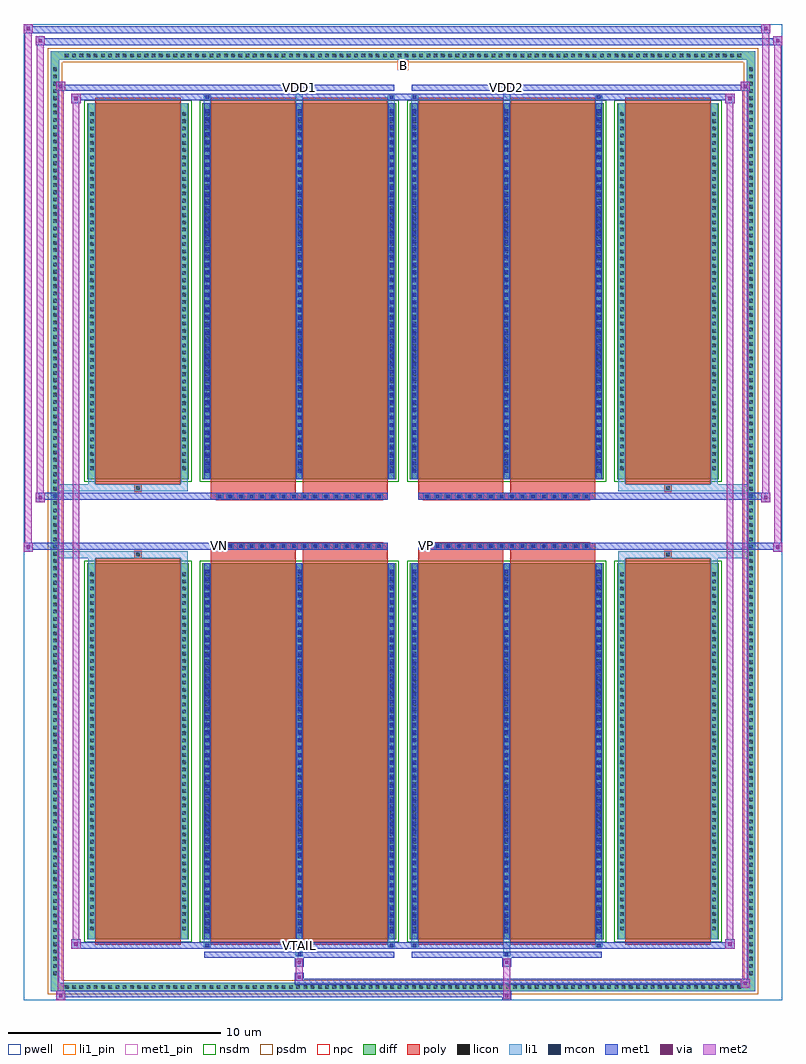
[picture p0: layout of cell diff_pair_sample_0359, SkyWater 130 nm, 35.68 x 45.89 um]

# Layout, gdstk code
import gdstk
lib = gdstk.Library(unit=1e-6, precision=5e-09)
def R(c, l, rs):  # rectangles x0, y0, x1, y1
    for r in rs: c.add(gdstk.rectangle(r[:2], r[2:], *l))
def A(c, l, x, y, w, h, nx, ny, dx, dy):  # array of equal rectangles
    R(c, l, [(x+i*dx, y+j*dy, x+i*dx+w, y+j*dy+h) for i in range(nx) for j in range(ny)])
def P(c, l, *ps):  # polygons
    for p in ps: c.add(gdstk.Polygon(p, *l))
pwell = (64, 44)
diff = (65, 20)
poly = (66, 20)
licon = (66, 44)
li1_pin = (67, 16)
li1 = (67, 20)
mcon = (67, 44)
met1_pin = (68, 16)
met1 = (68, 20)
via = (68, 44)
met2 = (69, 20)
nsdm = (93, 44)
psdm = (94, 20)
npc = (95, 20)

diff_pair_sample_0359 = lib.new_cell('diff_pair_sample_0359')
R(diff_pair_sample_0359, pwell, [(-17.84,-22.51,17.84,23.38), (-15.16,-20.7,-0.01,-0.8), (0.01,-20.7,15.16,-0.8), (-15.16,0.8,-0.01,20.7), (0.01,0.8,15.16,20.7)])
A(diff_pair_sample_0359, diff, -16.015, -22.11, 0.41, 0.41, 94, 2, 0.34, 43.81)
A(diff_pair_sample_0359, diff, -16.57, -21.455, 0.41, 0.41, 1, 126, 0, 0.34)
A(diff_pair_sample_0359, diff, 16.16, -21.455, 0.41, 0.41, 1, 126, 0, 0.34)
R(diff_pair_sample_0359, diff, [(-16.015,-22.11,16.015,-21.7), (-16.57,-21.455,-16.16,21.455), (16.16,-21.455,16.57,21.455), (-14.85,-19.655,-10.07,-1.985), (-9.43,-19.655,-0.32,-1.985), (0.32,-19.655,9.43,-1.985), (10.07,-19.655,14.85,-1.985), (-14.85,1.985,-10.07,19.655), (-9.43,1.985,-0.32,19.655), (0.32,1.985,9.43,19.655), (10.07,1.985,14.85,19.655), (-16.015,21.7,16.015,22.11)])
P(diff_pair_sample_0359, diff, [(16.57,22.11),(-16.57,22.11),(-16.57,-21.7),(-16.16,-21.7),(-16.16,21.7),(16.16,21.7),(16.16,-21.7),(-16.16,-21.7),(-16.57,-21.7),(-16.57,-22.11),(16.57,-22.11)])
A(diff_pair_sample_0359, poly, -8.79, -1.33, 0.33, 0.33, 16, 2, 0.5, 2.33)
A(diff_pair_sample_0359, poly, 0.96, -1.33, 0.33, 0.33, 16, 2, 0.5, 2.33)
R(diff_pair_sample_0359, poly, [(-14.46,-19.905,-10.46,-1.735), (-9.04,-19.905,-5.04,-1.735), (-4.71,-19.905,-0.71,-1.735), (0.71,-19.905,4.71,-1.735), (5.04,-19.905,9.04,-1.735), (10.46,-19.905,14.46,-1.735), (-12.625,-1.735,-12.295,-1.405), (-12.625,-1.735,-12.295,-1.405), (-9.04,-1.735,-5.04,-1.33), (-4.71,-1.735,-0.71,-1.33), (0.71,-1.735,4.71,-1.33), (5.04,-1.735,9.04,-1.33), (12.295,-1.735,12.625,-1.405), (12.295,-1.735,12.625,-1.405), (-9.04,-1.33,-0.71,-1), (0.71,-1.33,9.04,-1), (-9.04,1,-0.71,1.33), (0.71,1,9.04,1.33), (-9.04,1.33,-5.04,1.735), (-4.71,1.33,-0.71,1.735), (0.71,1.33,4.71,1.735), (5.04,1.33,9.04,1.735), (-12.625,1.405,-12.295,1.735), (-12.625,1.405,-12.295,1.735), (12.295,1.405,12.625,1.735), (12.295,1.405,12.625,1.735), (-14.46,1.735,-10.46,19.905), (-9.04,1.735,-5.04,19.905), (-4.71,1.735,-0.71,19.905), (0.71,1.735,4.71,19.905), (5.04,1.735,9.04,19.905), (10.46,1.735,14.46,19.905)])
A(diff_pair_sample_0359, licon, -15.895, -21.99, 0.17, 0.17, 94, 2, 0.34, 43.81)
A(diff_pair_sample_0359, licon, -16.45, -21.335, 0.17, 0.17, 1, 126, 0, 0.34)
A(diff_pair_sample_0359, licon, 16.28, -21.335, 0.17, 0.17, 1, 126, 0, 0.34)
A(diff_pair_sample_0359, licon, -14.71, -19.235, 0.17, 0.17, 1, 50, 0, 0.34)
A(diff_pair_sample_0359, licon, -10.38, -19.235, 0.17, 0.17, 1, 50, 0, 0.34)
A(diff_pair_sample_0359, licon, -9.29, -19.235, 0.17, 0.17, 3, 50, 4.33, 0.34)
A(diff_pair_sample_0359, licon, 0.46, -19.235, 0.17, 0.17, 3, 50, 4.33, 0.34)
A(diff_pair_sample_0359, licon, 10.21, -19.235, 0.17, 0.17, 1, 50, 0, 0.34)
A(diff_pair_sample_0359, licon, 14.54, -19.235, 0.17, 0.17, 1, 50, 0, 0.34)
A(diff_pair_sample_0359, licon, -8.71, -1.25, 0.17, 0.17, 16, 2, 0.5, 2.33)
A(diff_pair_sample_0359, licon, 1.04, -1.25, 0.17, 0.17, 16, 2, 0.5, 2.33)
A(diff_pair_sample_0359, licon, -14.71, 2.405, 0.17, 0.17, 1, 50, 0, 0.34)
A(diff_pair_sample_0359, licon, -10.38, 2.405, 0.17, 0.17, 1, 50, 0, 0.34)
A(diff_pair_sample_0359, licon, -9.29, 2.405, 0.17, 0.17, 3, 50, 4.33, 0.34)
A(diff_pair_sample_0359, licon, 0.46, 2.405, 0.17, 0.17, 3, 50, 4.33, 0.34)
A(diff_pair_sample_0359, licon, 10.21, 2.405, 0.17, 0.17, 1, 50, 0, 0.34)
A(diff_pair_sample_0359, licon, 14.54, 2.405, 0.17, 0.17, 1, 50, 0, 0.34)
R(diff_pair_sample_0359, licon, [(-12.545,-1.655,-12.375,-1.485), (12.375,-1.655,12.545,-1.485), (-12.545,1.485,-12.375,1.655), (12.375,1.485,12.545,1.655)])
R(diff_pair_sample_0359, li1_pin, [(-0.25,21.2,0.25,21.7)])
A(diff_pair_sample_0359, li1, -15.975, -22.07, 0.33, 0.33, 94, 2, 0.34, 43.81)
A(diff_pair_sample_0359, li1, -16.53, -21.415, 0.33, 0.33, 1, 126, 0, 0.34)
A(diff_pair_sample_0359, li1, 16.2, -21.415, 0.33, 0.33, 1, 126, 0, 0.34)
A(diff_pair_sample_0359, li1, -9.37, -19.655, 0.33, 17.67, 3, 2, 4.33, 21.64)
A(diff_pair_sample_0359, li1, 0.38, -19.655, 0.33, 17.67, 3, 2, 4.33, 21.64)
A(diff_pair_sample_0359, li1, -9.29, -19.365, 0.17, 0.17, 3, 48, 4.33, 0.36)
A(diff_pair_sample_0359, li1, -9.29, -19.365, 0.17, 17.09, 3, 2, 4.33, 21.64)
A(diff_pair_sample_0359, li1, 0.46, -19.365, 0.17, 0.17, 3, 48, 4.33, 0.36)
A(diff_pair_sample_0359, li1, 0.46, -19.365, 0.17, 17.09, 3, 2, 4.33, 21.64)
A(diff_pair_sample_0359, li1, -14.79, -19.315, 0.33, 0.33, 1, 50, 0, 0.34)
A(diff_pair_sample_0359, li1, -10.46, -19.315, 0.33, 0.33, 1, 50, 0, 0.34)
A(diff_pair_sample_0359, li1, -9.37, -19.315, 0.33, 0.33, 3, 50, 4.33, 0.34)
A(diff_pair_sample_0359, li1, 0.38, -19.315, 0.33, 0.33, 3, 50, 4.33, 0.34)
A(diff_pair_sample_0359, li1, 10.13, -19.315, 0.33, 0.33, 1, 50, 0, 0.34)
A(diff_pair_sample_0359, li1, 14.46, -19.315, 0.33, 0.33, 1, 50, 0, 0.34)
A(diff_pair_sample_0359, li1, -8.79, -1.33, 0.33, 0.33, 16, 2, 0.5, 2.33)
A(diff_pair_sample_0359, li1, 0.96, -1.33, 0.33, 0.33, 16, 2, 0.5, 2.33)
A(diff_pair_sample_0359, li1, -9.29, 2.275, 0.17, 0.17, 3, 48, 4.33, 0.36)
A(diff_pair_sample_0359, li1, 0.46, 2.275, 0.17, 0.17, 3, 48, 4.33, 0.36)
A(diff_pair_sample_0359, li1, -14.79, 2.325, 0.33, 0.33, 1, 50, 0, 0.34)
A(diff_pair_sample_0359, li1, -10.46, 2.325, 0.33, 0.33, 1, 50, 0, 0.34)
A(diff_pair_sample_0359, li1, -9.37, 2.325, 0.33, 0.33, 3, 50, 4.33, 0.34)
A(diff_pair_sample_0359, li1, 0.38, 2.325, 0.33, 0.33, 3, 50, 4.33, 0.34)
A(diff_pair_sample_0359, li1, 10.13, 2.325, 0.33, 0.33, 1, 50, 0, 0.34)
A(diff_pair_sample_0359, li1, 14.46, 2.325, 0.33, 0.33, 1, 50, 0, 0.34)
R(diff_pair_sample_0359, li1, [(-16.57,-22.11,-16.16,-21.7), (-16.57,-22.11,-16.16,-21.7), (-16.16,-22.11,16.16,-21.7), (16.16,-22.11,16.57,-21.7), (16.16,-22.11,16.57,-21.7), (-16.57,-21.7,-16.16,21.7), (16.16,-21.7,16.57,21.7), (-5.04,-20.46,-4.71,-19.655), (-4.96,-20.46,-4.79,-20.29), (4.71,-20.46,5.04,-19.655), (4.79,-20.46,4.96,-20.29), (-9.37,-20.03,-9.04,-19.655), (-9.29,-20.03,-9.12,-19.86), (-0.71,-20.03,-0.38,-19.655), (-0.63,-20.03,-0.46,-19.86), (0.38,-20.03,0.71,-19.655), (0.46,-20.03,0.63,-19.86), (9.04,-20.03,9.37,-19.655), (9.12,-20.03,9.29,-19.86), (-14.79,-19.655,-14.46,-1.985), (-10.46,-19.655,-10.13,-1.985), (10.13,-19.655,10.46,-1.985), (14.46,-19.655,14.79,-1.985), (-14.79,-1.985,-14.46,-1.405), (-10.46,-1.985,-10.13,-1.405), (10.13,-1.985,10.46,-1.405), (14.46,-1.985,14.79,-1.405), (-16.57,-1.735,-12.625,-1.405), (-14.79,-1.735,-12.625,-1.405), (-12.625,-1.735,-12.295,-1.405), (-12.295,-1.735,-10.13,-1.405), (10.13,-1.735,12.295,-1.405), (12.295,-1.735,12.625,-1.405), (12.295,-1.735,16.57,-1.405), (12.625,-1.735,14.79,-1.405), (-16.57,1.405,-12.625,1.735), (-14.79,1.405,-12.625,1.735), (-14.79,1.405,-14.46,1.985), (-12.625,1.405,-12.295,1.735), (-12.295,1.405,-10.13,1.735), (-10.46,1.405,-10.13,1.985), (10.13,1.405,12.295,1.735), (10.13,1.405,10.46,1.985), (12.295,1.405,12.625,1.735), (12.295,1.405,16.57,1.735), (12.625,1.405,14.79,1.735), (14.46,1.405,14.79,1.985), (-14.79,1.985,-14.46,19.655), (-10.46,1.985,-10.13,19.655), (10.13,1.985,10.46,19.655), (14.46,1.985,14.79,19.655), (-9.37,19.655,-9.04,20.03), (-5.04,19.655,-4.71,20.46), (-0.71,19.655,-0.38,20.03), (0.38,19.655,0.71,20.03), (4.71,19.655,5.04,20.46), (9.04,19.655,9.37,20.03), (-9.29,19.86,-9.12,20.03), (-0.63,19.86,-0.46,20.03), (0.46,19.86,0.63,20.03), (9.12,19.86,9.29,20.03), (-4.96,20.29,-4.79,20.46), (4.79,20.29,4.96,20.46), (-16.57,21.7,-16.16,22.11), (-16.57,21.7,-16.16,22.11), (-16.16,21.7,16.16,22.11), (16.16,21.7,16.57,22.11), (16.16,21.7,16.57,22.11)])
A(diff_pair_sample_0359, mcon, -9.29, -19.365, 0.17, 0.17, 3, 48, 4.33, 0.36)
A(diff_pair_sample_0359, mcon, 0.46, -19.365, 0.17, 0.17, 3, 48, 4.33, 0.36)
A(diff_pair_sample_0359, mcon, -8.71, -1.25, 0.17, 0.17, 16, 2, 0.5, 2.33)
A(diff_pair_sample_0359, mcon, 1.04, -1.25, 0.17, 0.17, 16, 2, 0.5, 2.33)
A(diff_pair_sample_0359, mcon, -9.29, 2.275, 0.17, 0.17, 3, 48, 4.33, 0.36)
A(diff_pair_sample_0359, mcon, 0.46, 2.275, 0.17, 0.17, 3, 48, 4.33, 0.36)
R(diff_pair_sample_0359, mcon, [(-4.96,-20.46,-4.79,-20.29), (4.79,-20.46,4.96,-20.29), (-9.29,-20.03,-9.12,-19.86), (-0.63,-20.03,-0.46,-19.86), (0.46,-20.03,0.63,-19.86), (9.12,-20.03,9.29,-19.86), (-9.29,19.86,-9.12,20.03), (-0.63,19.86,-0.46,20.03), (0.46,19.86,0.63,20.03), (9.12,19.86,9.29,20.03), (-4.96,20.29,-4.79,20.46), (4.79,20.29,4.96,20.46)])
R(diff_pair_sample_0359, met1_pin, [(-5.01,-20.07,-4.74,-19.8), (-8.76,-1.29,-8.49,-1.02), (0.99,-1.29,1.26,-1.02), (-5.01,20.25,-4.74,20.52), (4.74,20.25,5.01,20.52)])
A(diff_pair_sample_0359, met1, -9.35, -19.655, 0.29, 17.67, 3, 2, 4.33, 21.64)
A(diff_pair_sample_0359, met1, 0.4, -19.655, 0.29, 17.67, 3, 2, 4.33, 21.64)
A(diff_pair_sample_0359, met1, -9.35, -19.425, 0.29, 0.29, 3, 48, 4.33, 0.36)
A(diff_pair_sample_0359, met1, 0.4, -19.425, 0.29, 0.29, 3, 48, 4.33, 0.36)
A(diff_pair_sample_0359, met1, -8.77, -1.31, 0.29, 0.29, 16, 2, 0.5, 2.33)
A(diff_pair_sample_0359, met1, 0.98, -1.31, 0.29, 0.29, 16, 2, 0.5, 2.33)
A(diff_pair_sample_0359, met1, -9.35, 2.215, 0.29, 0.29, 3, 48, 4.33, 0.36)
A(diff_pair_sample_0359, met1, 0.4, 2.215, 0.29, 0.29, 3, 48, 4.33, 0.36)
R(diff_pair_sample_0359, met1, [(-16.3,-22.51,-15.87,-22.08), (4.66,-22.51,5.09,-22.08), (-16.3,-22.37,5.09,-22.08), (15.87,-21.94,16.3,-21.51), (-5.09,-21.8,16.3,-21.51), (-5.09,-21.66,-4.66,-21.23), (-5.09,-20.95,-4.66,-20.52), (4.66,-20.95,5.09,-20.52), (-9.35,-20.52,-0.4,-20.23), (-5.02,-20.52,-4.73,-20.23), (0.4,-20.52,9.35,-20.23), (4.73,-20.52,5.02,-20.23), (-15.59,-20.09,-15.16,-19.66), (-15.59,-20.09,-9.35,-19.8), (-9.35,-20.09,-9.06,-19.8), (-9.35,-20.09,-0.4,-19.8), (-0.69,-20.09,-0.4,-19.8), (-0.4,-20.09,0.4,-19.8), (0.4,-20.09,0.69,-19.8), (0.4,-20.09,9.35,-19.8), (9.06,-20.09,9.35,-19.8), (9.35,-20.09,15.59,-19.8), (15.16,-20.09,15.59,-19.66), (-17.84,-1.43,-17.41,-1), (17.41,-1.43,17.84,-1), (-17.84,-1.33,-0.71,-1), (-9.04,-1.33,-0.71,-1), (0.71,-1.33,9.04,-1), (0.71,-1.33,17.84,-1), (-17.27,0.9,-16.84,1.33), (16.84,0.9,17.27,1.33), (-17.27,1,-9.04,1.33), (-9.04,1,-0.71,1.33), (0.71,1,9.04,1.33), (9.04,1,17.27,1.33), (-15.59,19.66,-15.16,20.09), (15.16,19.66,15.59,20.09), (-15.59,19.8,-9.35,20.09), (-9.35,19.8,-9.06,20.09), (-9.35,19.8,-0.4,20.09), (-0.69,19.8,-0.4,20.09), (-0.4,19.8,0.4,20.09), (0.4,19.8,0.69,20.09), (0.4,19.8,9.35,20.09), (9.06,19.8,9.35,20.09), (9.35,19.8,15.59,20.09), (-16.3,20.23,-15.87,20.66), (-16.3,20.23,-9.35,20.52), (-9.35,20.23,-0.4,20.52), (-5.02,20.23,-4.73,20.52), (0.4,20.23,9.35,20.52), (4.73,20.23,5.02,20.52), (9.35,20.23,16.3,20.52), (15.87,20.23,16.3,20.66), (-17.27,22.38,-16.84,22.81), (-17.27,22.38,-15.16,22.71), (-15.16,22.38,15.16,22.71), (15.16,22.38,17.84,22.71), (17.41,22.38,17.84,22.81), (-17.84,22.95,-17.41,23.38), (-17.84,22.95,-15.16,23.28), (-15.16,22.95,15.16,23.28), (15.16,22.95,17.27,23.28), (16.84,22.95,17.27,23.38)])
R(diff_pair_sample_0359, via, [(-16.16,-22.37,-16.01,-22.22), (4.8,-22.37,4.95,-22.22), (16.01,-21.8,16.16,-21.65), (-4.95,-21.52,-4.8,-21.37), (-4.95,-20.81,-4.8,-20.66), (4.8,-20.81,4.95,-20.66), (-15.45,-19.95,-15.3,-19.8), (15.3,-19.95,15.45,-19.8), (-17.7,-1.29,-17.55,-1.14), (17.55,-1.29,17.7,-1.14), (-17.13,1.04,-16.98,1.19), (16.98,1.04,17.13,1.19), (-15.45,19.8,-15.3,19.95), (15.3,19.8,15.45,19.95), (-16.16,20.37,-16.01,20.52), (16.01,20.37,16.16,20.52), (-17.13,22.52,-16.98,22.67), (17.55,22.52,17.7,22.67), (-17.7,23.09,-17.55,23.24), (16.98,23.09,17.13,23.24)])
R(diff_pair_sample_0359, met2, [(-16.3,-22.51,-15.87,-22.08), (-16.23,-22.51,-15.94,20.66), (-15.94,-22.51,-15.87,-22.08), (-16.25,-22.46,-15.92,-22.13), (4.71,-22.46,5.04,-22.13), (4.71,-22.13,5.04,-20.9), (15.87,-21.94,16.3,-21.51), (15.94,-21.94,16.23,20.66), (16.23,-21.94,16.3,-21.51), (15.92,-21.89,16.25,-21.56), (-5.04,-21.61,-4.71,-21.28), (-5.04,-21.28,-4.71,-20.9), (-5.04,-20.9,-4.71,-20.57), (4.71,-20.9,5.04,-20.57), (-15.59,-20.09,-15.16,-19.66), (-15.52,-20.09,-15.23,20.09), (-15.23,-20.09,-15.16,-19.66), (15.16,-20.09,15.59,-19.66), (15.23,-20.09,15.52,20.09), (15.52,-20.09,15.59,-19.66), (-15.54,-20.04,-15.21,-19.71), (15.21,-20.04,15.54,-19.71), (-17.84,-1.43,-17.41,-1), (-17.79,-1.43,-17.46,23.38), (-17.46,-1.43,-17.41,-1), (17.41,-1.43,17.84,-1), (17.46,-1.43,17.79,22.81), (17.79,-1.43,17.84,-1), (-17.79,-1.38,-17.46,-1.05), (17.46,-1.38,17.79,-1.05), (-17.27,0.9,-16.84,1.33), (-17.22,0.9,-16.89,22.81), (-16.89,0.9,-16.84,1.33), (16.84,0.9,17.27,1.33), (16.89,0.9,17.22,23.38), (17.22,0.9,17.27,1.33), (-17.22,0.95,-16.89,1.28), (16.89,0.95,17.22,1.28), (-15.59,19.66,-15.16,20.09), (-15.23,19.66,-15.16,20.09), (15.16,19.66,15.59,20.09), (15.52,19.66,15.59,20.09), (-15.54,19.71,-15.21,20.04), (15.21,19.71,15.54,20.04), (-16.3,20.23,-15.87,20.66), (-15.94,20.23,-15.87,20.66), (15.87,20.23,16.3,20.66), (16.23,20.23,16.3,20.66), (-16.25,20.28,-15.92,20.61), (15.92,20.28,16.25,20.61), (-17.27,22.38,-16.84,22.81), (-16.89,22.38,-16.84,22.81), (17.41,22.38,17.84,22.81), (17.79,22.38,17.84,22.81), (-17.22,22.43,-16.89,22.76), (17.46,22.43,17.79,22.76), (-17.84,22.95,-17.41,23.38), (-17.46,22.95,-17.41,23.38), (16.84,22.95,17.27,23.38), (17.22,22.95,17.27,23.38), (-17.79,23,-17.46,23.33), (16.89,23,17.22,23.33)])
R(diff_pair_sample_0359, nsdm, [(-14.98,-19.785,-9.94,-1.855), (-9.56,-19.785,-0.19,-1.855), (0.19,-19.785,9.56,-1.855), (9.94,-19.785,14.98,-1.855), (-14.98,1.855,-9.94,19.785), (-9.56,1.855,-0.19,19.785), (0.19,1.855,9.56,19.785), (9.94,1.855,14.98,19.785)])
P(diff_pair_sample_0359, psdm, [(16.7,22.24),(-16.7,22.24),(-16.7,-21.57),(-16.03,-21.57),(-16.03,21.57),(16.03,21.57),(16.03,-21.57),(-16.03,-21.57),(-16.7,-21.57),(-16.7,-22.24),(16.7,-22.24)])
A(diff_pair_sample_0359, npc, -8.81, -1.35, 0.37, 0.37, 16, 2, 0.5, 2.33)
A(diff_pair_sample_0359, npc, 0.94, -1.35, 0.37, 0.37, 16, 2, 0.5, 2.33)
R(diff_pair_sample_0359, npc, [(-12.645,-1.755,-12.275,-1.385), (12.275,-1.755,12.645,-1.385), (-8.81,-1.35,-7.94,-0.98), (-8.81,-1.35,-7.94,-0.98), (-8.31,-1.35,-7.44,-0.98), (-8.31,-1.35,-7.44,-0.98), (-7.81,-1.35,-6.94,-0.98), (-7.81,-1.35,-6.94,-0.98), (-7.31,-1.35,-6.44,-0.98), (-7.31,-1.35,-6.44,-0.98), (-6.81,-1.35,-5.94,-0.98), (-6.81,-1.35,-5.94,-0.98), (-6.31,-1.35,-5.44,-0.98), (-6.31,-1.35,-5.44,-0.98), (-5.81,-1.35,-4.94,-0.98), (-5.81,-1.35,-4.94,-0.98), (-5.31,-1.35,-4.44,-0.98), (-5.31,-1.35,-4.44,-0.98), (-4.81,-1.35,-3.94,-0.98), (-4.81,-1.35,-3.94,-0.98), (-4.31,-1.35,-3.44,-0.98), (-4.31,-1.35,-3.44,-0.98), (-3.81,-1.35,-2.94,-0.98), (-3.81,-1.35,-2.94,-0.98), (-3.31,-1.35,-2.44,-0.98), (-3.31,-1.35,-2.44,-0.98), (-2.81,-1.35,-1.94,-0.98), (-2.81,-1.35,-1.94,-0.98), (-2.31,-1.35,-1.44,-0.98), (-2.31,-1.35,-1.44,-0.98), (-1.81,-1.35,-0.94,-0.98), (-1.81,-1.35,-0.94,-0.98), (0.94,-1.35,1.81,-0.98), (0.94,-1.35,1.81,-0.98), (1.44,-1.35,2.31,-0.98), (1.44,-1.35,2.31,-0.98), (1.94,-1.35,2.81,-0.98), (1.94,-1.35,2.81,-0.98), (2.44,-1.35,3.31,-0.98), (2.44,-1.35,3.31,-0.98), (2.94,-1.35,3.81,-0.98), (2.94,-1.35,3.81,-0.98), (3.44,-1.35,4.31,-0.98), (3.44,-1.35,4.31,-0.98), (3.94,-1.35,4.81,-0.98), (3.94,-1.35,4.81,-0.98), (4.44,-1.35,5.31,-0.98), (4.44,-1.35,5.31,-0.98), (4.94,-1.35,5.81,-0.98), (4.94,-1.35,5.81,-0.98), (5.44,-1.35,6.31,-0.98), (5.44,-1.35,6.31,-0.98), (5.94,-1.35,6.81,-0.98), (5.94,-1.35,6.81,-0.98), (6.44,-1.35,7.31,-0.98), (6.44,-1.35,7.31,-0.98), (6.94,-1.35,7.81,-0.98), (6.94,-1.35,7.81,-0.98), (7.44,-1.35,8.31,-0.98), (7.44,-1.35,8.31,-0.98), (7.94,-1.35,8.81,-0.98), (7.94,-1.35,8.81,-0.98), (-8.81,0.98,-7.94,1.35), (-8.81,0.98,-7.94,1.35), (-8.31,0.98,-7.44,1.35), (-8.31,0.98,-7.44,1.35), (-7.81,0.98,-6.94,1.35), (-7.81,0.98,-6.94,1.35), (-7.31,0.98,-6.44,1.35), (-7.31,0.98,-6.44,1.35), (-6.81,0.98,-5.94,1.35), (-6.81,0.98,-5.94,1.35), (-6.31,0.98,-5.44,1.35), (-6.31,0.98,-5.44,1.35), (-5.81,0.98,-4.94,1.35), (-5.81,0.98,-4.94,1.35), (-5.31,0.98,-4.44,1.35), (-5.31,0.98,-4.44,1.35), (-4.81,0.98,-3.94,1.35), (-4.81,0.98,-3.94,1.35), (-4.31,0.98,-3.44,1.35), (-4.31,0.98,-3.44,1.35), (-3.81,0.98,-2.94,1.35), (-3.81,0.98,-2.94,1.35), (-3.31,0.98,-2.44,1.35), (-3.31,0.98,-2.44,1.35), (-2.81,0.98,-1.94,1.35), (-2.81,0.98,-1.94,1.35), (-2.31,0.98,-1.44,1.35), (-2.31,0.98,-1.44,1.35), (-1.81,0.98,-0.94,1.35), (-1.81,0.98,-0.94,1.35), (0.94,0.98,1.81,1.35), (0.94,0.98,1.81,1.35), (1.44,0.98,2.31,1.35), (1.44,0.98,2.31,1.35), (1.94,0.98,2.81,1.35), (1.94,0.98,2.81,1.35), (2.44,0.98,3.31,1.35), (2.44,0.98,3.31,1.35), (2.94,0.98,3.81,1.35), (2.94,0.98,3.81,1.35), (3.44,0.98,4.31,1.35), (3.44,0.98,4.31,1.35), (3.94,0.98,4.81,1.35), (3.94,0.98,4.81,1.35), (4.44,0.98,5.31,1.35), (4.44,0.98,5.31,1.35), (4.94,0.98,5.81,1.35), (4.94,0.98,5.81,1.35), (5.44,0.98,6.31,1.35), (5.44,0.98,6.31,1.35), (5.94,0.98,6.81,1.35), (5.94,0.98,6.81,1.35), (6.44,0.98,7.31,1.35), (6.44,0.98,7.31,1.35), (6.94,0.98,7.81,1.35), (6.94,0.98,7.81,1.35), (7.44,0.98,8.31,1.35), (7.44,0.98,8.31,1.35), (7.94,0.98,8.81,1.35), (7.94,0.98,8.81,1.35), (-12.645,1.385,-12.275,1.755), (12.275,1.385,12.645,1.755)])
diff_pair_sample_0359.add(gdstk.Label('VTAIL', (-4.875,-19.935), layer=68, texttype=5))
diff_pair_sample_0359.add(gdstk.Label('VN', (-8.625,-1.155), layer=68, texttype=5))
diff_pair_sample_0359.add(gdstk.Label('VP', (1.125,-1.155), layer=68, texttype=5))
diff_pair_sample_0359.add(gdstk.Label('B', (0,21.45), layer=67, texttype=5))
diff_pair_sample_0359.add(gdstk.Label('VDD2', (4.875,20.385), layer=68, texttype=5))
diff_pair_sample_0359.add(gdstk.Label('VDD1', (-4.875,20.385), layer=68, texttype=5))

lib.write_gds('diff_pair_sample_0359.gds')
